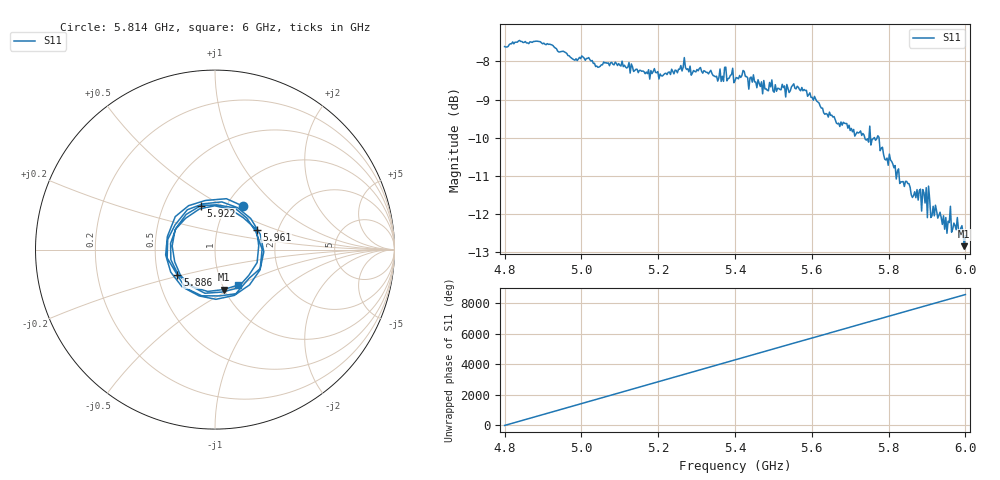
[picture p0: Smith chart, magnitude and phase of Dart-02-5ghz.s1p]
! NanoVNA-App
! Date: 2026-05-25 01:59:41
! Start: 4.8GHz Stop: 6GHz Points: 401
! S-Parameter data: F S11
# Hz S RI R 50
!  Frequency  S11_Real  S11_Imag
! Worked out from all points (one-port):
!   401 points, 4.8 GHz to 6 GHz, reference 50 ohm
!   lowest |S11| = -12.9 dB at 5.997 GHz (marker M1), VSWR 1.59, Z = 49.7 - j23.3 ohm
!   |S11| at or under -10 dB: 5.737891 GHz to 5.748852 GHz (10.96 MHz wide, 0.191 % of centre); 5.752819 GHz to 5.762826 GHz (10.01 MHz wide, 0.174 % of centre); 5.775 GHz to end of sweep (the widest 3 of 4)
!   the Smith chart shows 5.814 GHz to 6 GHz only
!   S11 on the Smith chart (normalised r, x): 5.814 GHz: 1.20, +0.63; 5.886 GHz: 0.63, -0.19; 5.922 GHz: 0.76, +0.40; 5.961 GHz: 1.55, +0.37; 6 GHz: 1.18, -0.49
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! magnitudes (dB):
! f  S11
! 4.8 GHz  -7.6
! 4.887 GHz  -7.5
! 4.95 GHz  -7.7
! 5.043 GHz  -8.2
! 5.1 GHz  -8.1
! 5.208 GHz  -8.4
! 5.25 GHz  -8.3
! 5.265 GHz  -8.2
! 5.4 GHz  -8.5
! 5.424 GHz  -8.3
! 5.478 GHz  -8.7
! 5.55 GHz  -8.6
! 5.58 GHz  -8.7
! 5.637 GHz  -9.4
! 5.7 GHz  -9.8
! 5.742 GHz  -10.1
! 5.769 GHz  -10.0
! 5.793 GHz  -10.6
! 5.814 GHz  -10.8
! 5.835 GHz  -11.2
! 5.85 GHz  -11.2
! 5.865 GHz  -11.5
! 5.886 GHz  -11.9
! 5.922 GHz  -11.8
! 5.946 GHz  -12.4
! 5.961 GHz  -11.8
! 5.997 GHz  -12.9
! 6 GHz  -12.6
